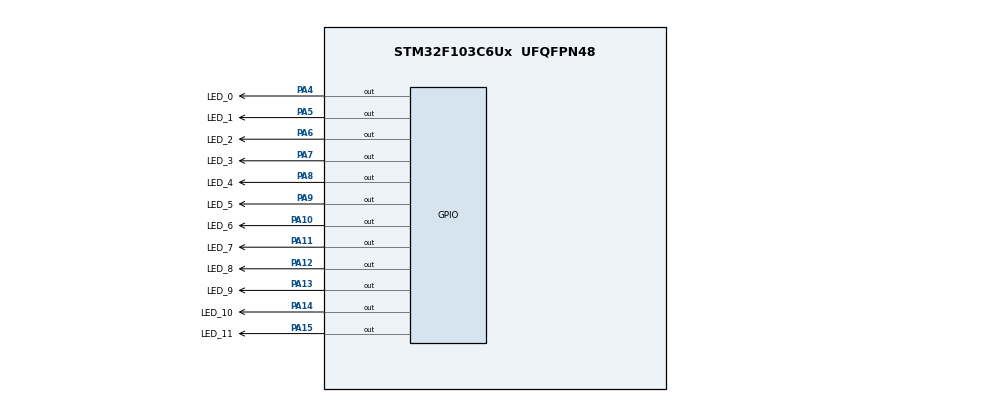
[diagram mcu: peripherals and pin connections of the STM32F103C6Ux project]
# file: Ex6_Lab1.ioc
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Mcu.Family=STM32F1
Mcu.Name=STM32F103C6Ux
Mcu.Package=UFQFPN48
NVIC.PriorityGroup=NVIC_PRIORITYGROUP_4
PA10.GPIO_Label=LED_6
PA10.Signal=GPIO_Output
PA11.GPIO_Label=LED_7
PA11.Signal=GPIO_Output
PA12.GPIO_Label=LED_8
PA12.Signal=GPIO_Output
PA13.GPIO_Label=LED_9
PA13.Signal=GPIO_Output
PA14.GPIO_Label=LED_10
PA14.Signal=GPIO_Output
PA15.GPIO_Label=LED_11
PA15.Signal=GPIO_Output
PA4.GPIO_Label=LED_0
PA4.Signal=GPIO_Output
PA5.GPIO_Label=LED_1
PA5.Signal=GPIO_Output
PA6.GPIO_Label=LED_2
PA6.Signal=GPIO_Output
PA7.GPIO_Label=LED_3
PA7.Signal=GPIO_Output
PA8.GPIO_Label=LED_4
PA8.Signal=GPIO_Output
PA9.GPIO_Label=LED_5
PA9.Signal=GPIO_Output
ProjectManager.HeapSize=0x200
ProjectManager.StackSize=0x400
ProjectManager.TargetToolchain=STM32CubeIDE
RCC.APB1Freq_Value=8000000
RCC.APB2Freq_Value=8000000
VP_SYS_VS_ND.Mode=No_Debug
board=custom

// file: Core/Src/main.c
/* USER CODE BEGIN Header */
/**
 ******************************************************************************
 * @file           : main.c
 * @brief          : Main program body
 ******************************************************************************
 * @attention
 *
 * <h2><center>&copy; Copyright (c) 2025 STMicroelectronics.
 * All rights reserved.</center></h2>
 *
 * This software component is licensed by ST under BSD 3-Clause license,
 * the "License"; You may not use this file except in compliance with the
 * License. You may obtain a copy of the License at:
 *                        opensource.org/licenses/BSD-3-Clause
 *
 ******************************************************************************
 */
/* USER CODE END Header */
#include "main.h"

void SystemClock_Config(void);
static void MX_GPIO_Init(void);

/* USER CODE BEGIN 0 */
void ledTest(int);
void clearNumberOnClock(int);
void setNumberOnClock(int);
void displayClock(int, int, int);
/* USER CODE END 0 */

int main(void) {

	/* MCU Configuration--------------------------------------------------------*/

	/* Reset of all peripherals, Initializes the Flash interface and the Systick. */
	HAL_Init();

	/* Configure the system clock */
	SystemClock_Config();

	/* Initialize all configured peripherals */
	MX_GPIO_Init();
	/* USER CODE BEGIN 2 */
	int count = 0;
//	int minute = 0, second = 0, hour = 0;
	/* USER CODE END 2 */

	/* Infinite loop */
	while (1) {
		if (count > 12)
			count = 0;
		ledTest(count);
		count++;
		HAL_Delay(1000);
//		displayClock(hour, minute, second);
//
//		HAL_Delay(1000); // Delay 1s
//
//		// Update Time
//		second++;
//		if (second >= 12) {
//			second = 0;
//			minute++;
//		}
//		if (minute >= 12) {
//			minute = 0;
//			hour++;
//		}
//		if (hour >= 24)
//			hour = 0;
	}
}

void SystemClock_Config(void) {
	RCC_OscInitTypeDef RCC_OscInitStruct = { 0 };
	RCC_ClkInitTypeDef RCC_ClkInitStruct = { 0 };

	/** Initializes the RCC Oscillators according to the specified parameters
	 * in the RCC_OscInitTypeDef structure.
	 */
	RCC_OscInitStruct.OscillatorType = RCC_OSCILLATORTYPE_HSI;
	RCC_OscInitStruct.HSIState = RCC_HSI_ON;
	RCC_OscInitStruct.HSICalibrationValue = RCC_HSICALIBRATION_DEFAULT;
	RCC_OscInitStruct.PLL.PLLState = RCC_PLL_NONE;
	if (HAL_RCC_OscConfig(&RCC_OscInitStruct) != HAL_OK) {
		Error_Handler();
	}
	/** Initializes the CPU, AHB and APB buses clocks
	 */
	RCC_ClkInitStruct.ClockType = RCC_CLOCKTYPE_HCLK | RCC_CLOCKTYPE_SYSCLK
			| RCC_CLOCKTYPE_PCLK1 | RCC_CLOCKTYPE_PCLK2;
	RCC_ClkInitStruct.SYSCLKSource = RCC_SYSCLKSOURCE_HSI;
	RCC_ClkInitStruct.AHBCLKDivider = RCC_SYSCLK_DIV1;
	RCC_ClkInitStruct.APB1CLKDivider = RCC_HCLK_DIV1;
	RCC_ClkInitStruct.APB2CLKDivider = RCC_HCLK_DIV1;

	if (HAL_RCC_ClockConfig(&RCC_ClkInitStruct, FLASH_LATENCY_0) != HAL_OK) {
		Error_Handler();
	}
}

static void MX_GPIO_Init(void) {
	GPIO_InitTypeDef GPIO_InitStruct = { 0 };

	/* GPIO Ports Clock Enable */
	__HAL_RCC_GPIOA_CLK_ENABLE();

	/*Configure GPIO pin Output Level */
	HAL_GPIO_WritePin(GPIOA,
			LED_0_Pin | LED_1_Pin | LED_2_Pin | LED_3_Pin | LED_4_Pin
					| LED_5_Pin | LED_6_Pin | LED_7_Pin | LED_8_Pin | LED_9_Pin
					| LED_10_Pin | LED_11_Pin, GPIO_PIN_RESET);

	/*Configure GPIO pins : LED_0_Pin LED_1_Pin LED_2_Pin LED_3_Pin
	 LED_4_Pin LED_5_Pin LED_6_Pin LED_7_Pin
	 LED_8_Pin LED_9_Pin LED_10_Pin LED_11_Pin */
	GPIO_InitStruct.Pin = LED_0_Pin | LED_1_Pin | LED_2_Pin | LED_3_Pin
			| LED_4_Pin | LED_5_Pin | LED_6_Pin | LED_7_Pin | LED_8_Pin
			| LED_9_Pin | LED_10_Pin | LED_11_Pin;
	GPIO_InitStruct.Mode = GPIO_MODE_OUTPUT_PP;
	GPIO_InitStruct.Pull = GPIO_NOPULL;
	GPIO_InitStruct.Speed = GPIO_SPEED_FREQ_LOW;
	HAL_GPIO_Init(GPIOA, &GPIO_InitStruct);

}

/* USER CODE BEGIN 4 */
// LED_Array
const uint16_t LED_Pins[] = {
LED_0_Pin, LED_1_Pin, LED_2_Pin, LED_3_Pin,
LED_4_Pin, LED_5_Pin, LED_6_Pin, LED_7_Pin,
LED_8_Pin, LED_9_Pin, LED_10_Pin, LED_11_Pin };

const int LED_Count = sizeof(LED_Pins) / sizeof(LED_Pins[0]);

void ledTest(int num) {
	// check for num
	if (num < 0 || num >= LED_Count)
		for (int i = 0; i < LED_Count; i++) {
			HAL_GPIO_WritePin(GPIOA, LED_Pins[i], GPIO_PIN_RESET);
		}

	// turn on led
	HAL_GPIO_WritePin(GPIOA, LED_Pins[num], GPIO_PIN_SET);
}

void clearAllClock() {
	for (int i = 0; i < LED_Count; i++) {
		HAL_GPIO_WritePin(GPIOA, LED_Pins[i], GPIO_PIN_RESET);
	}
}

void setNumberOnClock(int num) {
	if (num >= 0 && num <= LED_Count) {
		HAL_GPIO_WritePin(GPIOA, LED_Pins[num], GPIO_PIN_SET);
	}
}

void clearNumberOnClock(int num) {
	if (num >= 0 && num <= LED_Count) {
		HAL_GPIO_WritePin(GPIOA, LED_Pins[num], GPIO_PIN_RESET);
	}
}

void displayClock(int hour, int minute, int second) {
	clearAllClock();

	// Change LED to Index from (0-11)
	int hourIndex = hour % 12;
	int minuteIndex = minute;  // 60 min -> 12 index
	int secondIndex = second;  // 60 second -> 12 index

	setNumberOnClock(hourIndex);
	setNumberOnClock(minuteIndex);
	setNumberOnClock(secondIndex);
}
/* USER CODE END 4 */

void Error_Handler(void) {
	__disable_irq();
	while (1) {
	}
}

/************************ (C) COPYRIGHT STMicroelectronics *****END OF FILE****/
